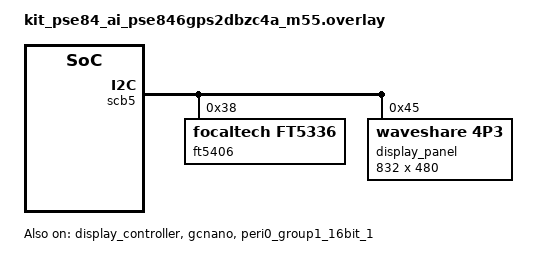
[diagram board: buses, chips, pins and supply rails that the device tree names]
/*
 * Copyright (c) 2026 Infineon Technologies AG,
 * or an affiliate of Infineon Technologies AG.
 *
 * SPDX-License-Identifier: Apache-2.0
 */

#include <zephyr/dt-bindings/display/panel.h>

/ {
	chosen {
		zephyr,touch = &ft5406;
		zephyr,display = &display_controller;
	};

	lvgl_pointer {
		compatible = "zephyr,lvgl-pointer-input";
		input = <&ft5406>;
	};

	lvgl_vglite {
		compatible = "zephyr,lvgl-gpu-vglite";
		gpu = <&gcnano>;
		variant = "gcnanoultrav";
		revision = "0x1003";
	};
};

&display_controller {
	status = "okay";

	height = <480>;
	width = <832>;

	pixel-clock-khz = <33768>;
	hsync-width = <10>;
	hfp = <210>;
	hbp = <20>;
	vsync-width = <5>;
	vfp = <20>;
	vbp = <20>;

	data-lanes = <1>;
	per-lane-mbps = <810>;

	input-pixel-format = <PANEL_PIXEL_FORMAT_RGB_565>;
	panel = <&display_panel>;
};

&gcnano {
	status = "okay";
};

i2c5: &scb5 {
	compatible = "infineon,i2c";
	#address-cells = <1>;
	#size-cells = <0>;
	status = "okay";

	clocks = <&peri0_group1_16bit_1>;

	pinctrl-0 = <&p17_0_scb5_i2c_scl &p17_1_scb5_i2c_sda>;
	pinctrl-names = "default";

	ft5406: ft5406@38 {
		compatible = "focaltech,ft5336";
		reg = <0x38>;
		swapped-x-y;
		inverted-x;
		inverted-y;
		screen-width = <480>;
		screen-height = <800>;
	};

	display_panel: waveshare_panel@45 {
		compatible = "waveshare,4p3";
		reg = <0x45>;
		pixel-format = <PANEL_PIXEL_FORMAT_RGB_888>;
		status = "okay";
		height = <480>;
		width = <832>;
	};
};

&peri0_group1_16bit_1 {
	status = "okay";
	clock-div = <62>;
};

&p17_0_scb5_i2c_scl {
	drive-open-drain;
	input-enable;
};

&p17_1_scb5_i2c_sda {
	drive-open-drain;
	input-enable;
};

&clk_hf12 {
	status = "okay";
	clock-div = <IFX_CLK_HF_DIVIDE_BY_2>;
	source-path = <IFX_CLK_HF_IN_CLKPATH3>;
};
